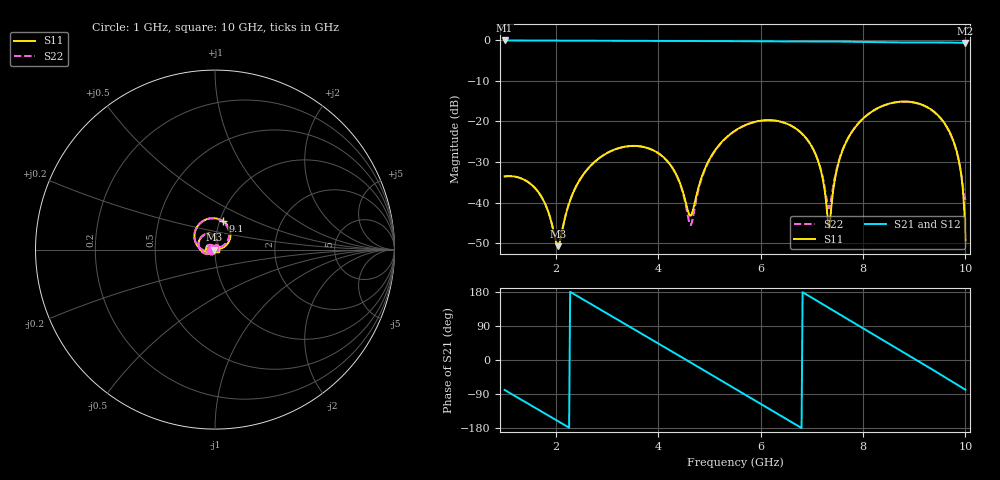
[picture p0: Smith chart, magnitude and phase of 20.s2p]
! Touchstone file exported from HFSS 2018.2.0
!  File:  C:/Users/10024/OneDrive - The University of Nottingham Ningbo China/Year 4/Final Year Project/HFSS project/Passive_Resonator_Antenna.aedt
!  Generated:  5:10:46 下午  3月 11, 2022
!  Design:  SMA_Thru
!  Project:  Passive_Resonator_Antenna
!  Setup:  Setup1
!  Solution:  Sweep
! Variables:
!  MW = 1.992mm
!  ThruL = 20mm
!  g = 0.2mm
!  subH = 0.8mm
!  subX = 20mm
!  subY = 30mm
!  tapW = 1.992mm
# GHZ S MA R 50.000000
! Modal data exported
! Port[1] = SMA_CONNECTOR1_1:1
! Port[2] = SMA_CONNECTOR2_1:1
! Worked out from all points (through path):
!   451 points, 1 GHz to 10 GHz, reference 50 ohm
!   highest |S21| = -0.02 dB at 1 GHz (marker M1); lowest = -0.6 dB at 10 GHz (marker M2)
!   group delay of S21, straight-line fit = 222 ps
!   lowest |S11| = -50.8 dB at 2.04 GHz (marker M3), VSWR 1.01, Z = 49.7 - j0.0733 ohm
!   |S11| at or under -10 dB: start of sweep to end of sweep
!   |S22| runs from -50.7 to -15.1 dB; largest |S21 - S12| = 8.4e-13
!   S11 on the Smith chart (normalised r, x): 1 GHz: 0.96, -0.01; 9.1 GHz: 1.03, +0.34; 10 GHz: 1.01, +0.00
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1  0.02102 -167.3  0.9975 -79.0  0.9975 -79.0  0.02101 -168.0
! Gamma ! 0.0151858380091447 30.3716836111861 0.0151858380091045 30.3716836112125
! Port Impedance50 0 50 0
1.64  0.01395 148.5  0.9949 -129.6  0.9949 -129.6  0.01394 148.3
2.04  0.002898 -165.3  0.9931 -161.2  0.9931 -161.2  0.002908 -165.4
2.5  0.02049 -117.6  0.9909 162.5  0.9909 162.5  0.02049 -117.6
3.28  0.04784 -172.3  0.9871 100.8  0.9871 100.8  0.04783 -172.3
4  0.04068 136.0  0.9852 43.8  0.9852 43.8  0.04067 135.3
4.36  0.02165 117.1  0.9846 15.2  0.9846 15.2  0.02146 114.4
4.64  0.006901 174.8  0.9838 -7.1  0.9838 -7.1  0.005288 175.4
4.96  0.03037 -140.9  0.9821 -32.6  0.9821 -32.6  0.0297 -136.6
5.5  0.07695 -175.2  0.9773 -75.7  0.9773 -75.7  0.07641 -172.4
5.92  0.09998 153.3  0.9733 -109.2  0.9733 -109.2  0.09947 156.0
6.36  0.1006 119.7  0.9709 -144.3  0.9709 -144.3  0.1001 122.6
7  0.04898 72.2  0.97 164.5  0.97 164.5  0.04901 77.7
7.18  0.0245 63.6  0.9693 149.9  0.9693 149.9  0.0251 73.1
7.34  0.004891 136.4  0.9682 137.0  0.9682 137.0  0.008498 136.7
7.5  0.02729 -163.9  0.9664 124.0  0.9664 124.0  0.02834 -169.6
7.7  0.06068 -174.4  0.9633 107.9  0.9633 107.9  0.06113 -176.2
8.5  0.165 123.9  0.9468 43.5  0.9468 43.5  0.1645 124.8
9.1  0.1653 74.9  0.9426 -4.6  0.9426 -4.6  0.1643 77.0
9.76  0.05892 18.6  0.9387 -58.5  0.9387 -58.5  0.0577 27.1
9.9  0.02636 8.9  0.9343 -70.1  0.9343 -70.1  0.02629 28.4
10  0.003438 33.9  0.9298 -78.4  0.9298 -78.4  0.01078 83.8
